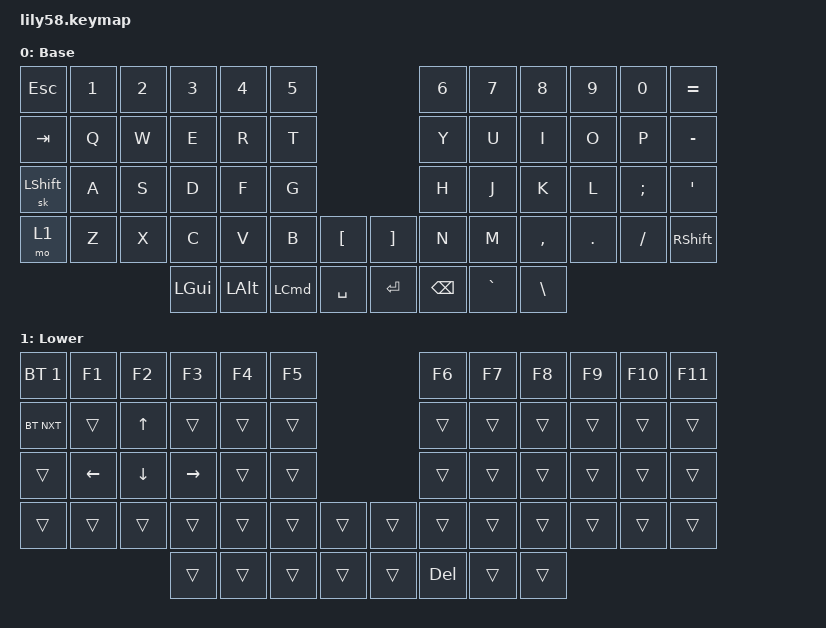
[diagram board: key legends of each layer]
/*
 * Copyright (c) 2020 The ZMK Contributors
 *
 * SPDX-License-Identifier: MIT
 */

#include <behaviors.dtsi>
#include <dt-bindings/zmk/bt.h>
#include <dt-bindings/zmk/keys.h>

&sk { quick-release; };

/ {
    keymap {
        compatible = "zmk,keymap";

        default_layer {
            // ------------------------------------------------------------------------------------------------------------
            // |  ESC  |  1  |  2  |  3   |  4   |  5   |                   |  6   |  7    |  8    |  9   |   0   |   `   |
            // |  TAB  |  Q  |  W  |  E   |  R   |  T   |                   |  Y   |  U    |  I    |  O   |   P   |   -   |
            // |  CTRL |  A  |  S  |  D   |  F   |  G   |                   |  H   |  J    |  K    |  L   |   ;   |   '   |
            // | SHIFT |  Z  |  X  |  C   |  V   |  B   |   "["  |  |  "]"  |  N   |  M    |  ,    |  .   |   /   | SHIFT |
            //                     | ALT  | GUI  | LOWER|  SPACE |  | ENTER | RAISE| BSPC  | GUI   |

            display-name = "Base";
            bindings = <
&kp ESC    &kp N1  &kp N2  &kp N3        &kp N4    &kp N5                                   &kp N6    &kp N7     &kp N8     &kp N9   &kp N0    &kp EQUAL
&kp TAB    &kp Q   &kp W   &kp E         &kp R     &kp T                                    &kp Y     &kp U      &kp I      &kp O    &kp P     &kp MINUS
&sk LSHFT  &kp A   &kp S   &kp D         &kp F     &kp G                                    &kp H     &kp J      &kp K      &kp L    &kp SEMI  &kp SQT
&mo 1      &kp Z   &kp X   &kp C         &kp V     &kp B             &kp LBKT     &kp RBKT  &kp N     &kp M      &kp COMMA  &kp DOT  &kp FSLH  &kp RSHFT
                           &kp LEFT_GUI  &kp LALT  &kp LEFT_COMMAND  &kp SPACE    &kp RET   &kp BSPC  &kp GRAVE  &kp BSLH
            >;
        };

        lower_layer {
            // ------------------------------------------------------------------------------------------------------------
            // | BTCLR | BT1 | BT2 |  BT3 |  BT4 |  BT5 |                   |      |       |       |      |       |       |
            // |  F1   |  F2 |  F3 |  F4  |  F5  |  F6  |                   |  F7  |  F8   |  F9   |  F10 |  F11  |  F12  |
            // |   `   |  !  |  @  |  #   |  $   |  %   |                   |  ^   |  &    |  *    |  (   |   )   |   ~   |
            // |       |     |     |      |      |      |        |  |       |      |  _    |  +    |  {   |   }   |  "|"  |
            //                     |      |      |      |        |  |       |      |       |       |

            display-name = "Lower";
            bindings = <
&bt BT_SEL 1  &kp F1    &kp F2    &kp F3     &kp F4  &kp F5                    &kp F6      &kp F7  &kp F8  &kp F9  &kp F10  &kp F11
&bt BT_NXT    &trans    &kp UP    &trans     &trans  &trans                    &trans      &trans  &trans  &trans  &trans   &trans
&trans        &kp LEFT  &kp DOWN  &kp RIGHT  &trans  &trans                    &trans      &trans  &trans  &trans  &trans   &trans
&trans        &trans    &trans    &trans     &trans  &trans  &trans    &trans  &trans      &trans  &trans  &trans  &trans   &trans
                                  &trans     &trans  &trans  &trans    &trans  &kp DELETE  &trans  &trans
            >;
        };
    };
};
